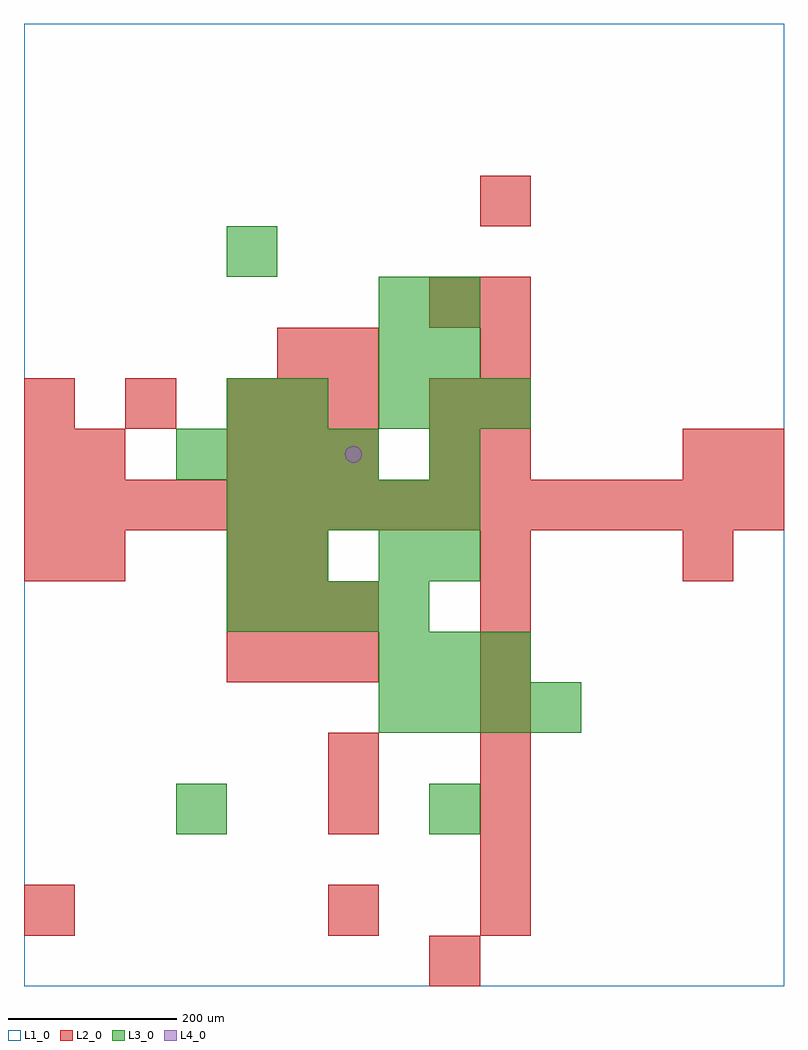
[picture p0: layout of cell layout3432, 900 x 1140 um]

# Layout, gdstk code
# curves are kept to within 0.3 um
import gdstk
lib = gdstk.Library(unit=1e-6, precision=1e-09)
def R(c, l, rs):  # rectangles x0, y0, x1, y1
    for r in rs: c.add(gdstk.rectangle(r[:2], r[2:], *l))
def A(c, l, x, y, w, h, nx, ny, dx, dy):  # array of equal rectangles
    R(c, l, [(x+i*dx, y+j*dy, x+i*dx+w, y+j*dy+h) for i in range(nx) for j in range(ny)])
def P(c, l, *ps):  # polygons
    for p in ps: c.add(gdstk.Polygon(p, *l))
L1_0 = (1, 0)
L2_0 = (2, 0)
L3_0 = (3, 0)
L4_0 = (4, 0)

layout3432 = lib.new_cell('layout3432')
R(layout3432, L1_0, [(0,0,900,1140)])
A(layout3432, L2_0, 540, 60, 60, 60, 1, 7, 0, 60)
A(layout3432, L2_0, 240, 360, 60, 60, 3, 2, 60, 60)
A(layout3432, L2_0, 300, 480, 60, 60, 3, 1, 240, 0)
A(layout3432, L2_0, 0, 540, 60, 60, 15, 1, 60, 0)
A(layout3432, L2_0, 240, 600, 60, 60, 3, 1, 60, 0)
A(layout3432, L2_0, 540, 600, 60, 60, 1, 4, 0, 60)
A(layout3432, L2_0, 0, 660, 60, 60, 3, 1, 120, 0)
R(layout3432, L2_0, [(480,0,540,60), (0,60,60,120), (360,60,420,120), (360,180,420,240), (360,240,420,300), (0,480,60,540), (60,480,120,540), (240,480,300,540), (0,600,60,660), (60,600,120,660), (480,600,540,660), (780,600,840,660), (840,600,900,660), (300,660,360,720), (360,660,420,720), (480,660,540,720), (300,720,360,780), (360,720,420,780), (480,780,540,840), (540,900,600,960)])
A(layout3432, L3_0, 420, 300, 60, 60, 4, 1, 60, 0)
A(layout3432, L3_0, 420, 360, 60, 60, 3, 2, 60, 300)
A(layout3432, L3_0, 240, 420, 60, 60, 4, 1, 60, 0)
A(layout3432, L3_0, 240, 480, 60, 60, 1, 3, 0, 180)
A(layout3432, L3_0, 480, 480, 60, 60, 1, 3, 0, 120)
A(layout3432, L3_0, 240, 540, 60, 60, 5, 1, 60, 0)
A(layout3432, L3_0, 180, 600, 60, 60, 4, 1, 60, 0)
R(layout3432, L3_0, [(180,180,240,240), (480,180,540,240), (300,480,360,540), (420,480,480,540), (300,660,360,720), (420,720,480,780), (420,780,480,840), (480,780,540,840)])
P(layout3432, L4_0, [(400,630),(399.239,633.827),(397.071,637.071),(393.827,639.239),(390,640),(386.173,639.239),(382.929,637.071),(380.761,633.827),(380,630),(380.761,626.173),(382.929,622.929),(386.173,620.761),(390,620),(393.827,620.761),(397.071,622.929),(399.239,626.173)])

lib.write_gds('layout3432.gds')
